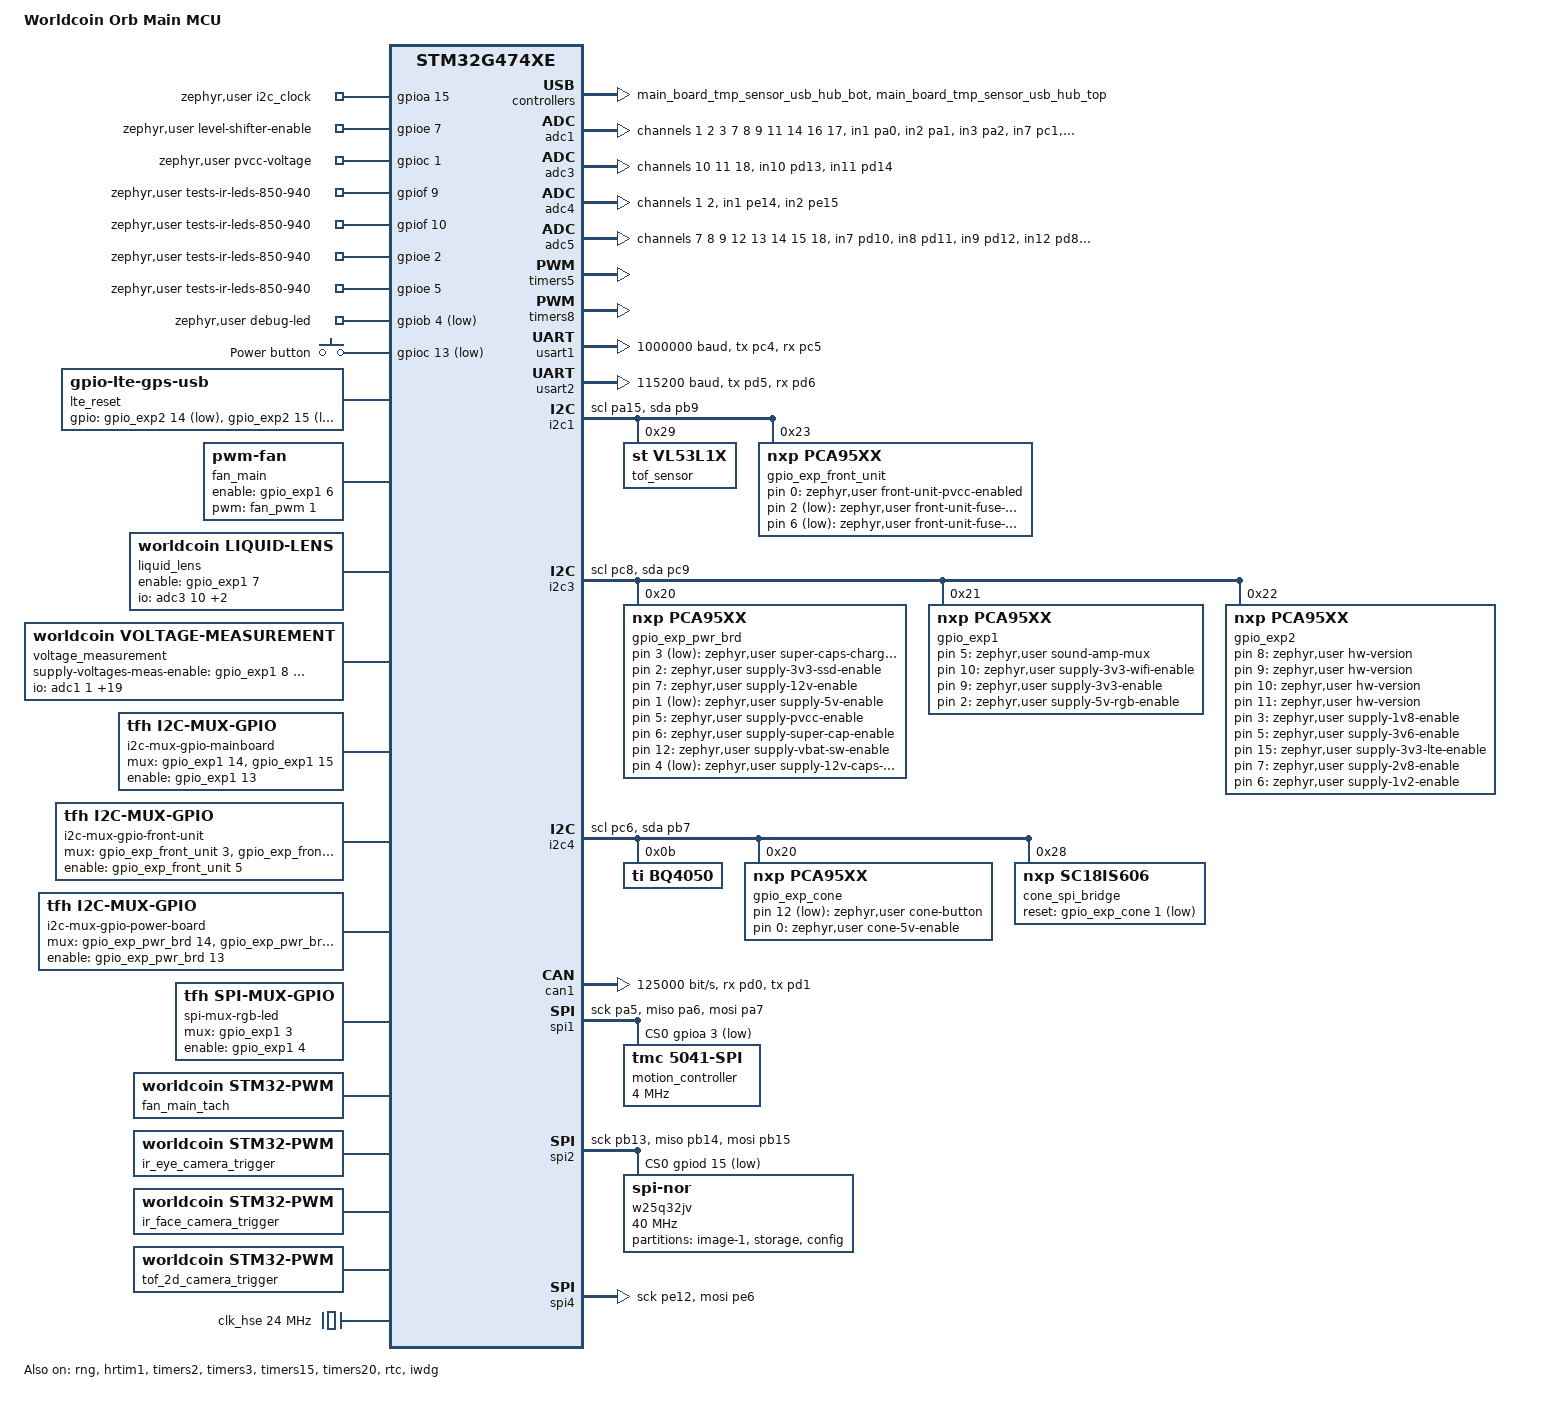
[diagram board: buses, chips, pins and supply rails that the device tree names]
/dts-v1/;
#include <st/g4/stm32g474Xe.dtsi>
#include <st/g4/stm32g474v(b-c-e)tx-pinctrl.dtsi>
#include "../stm32g474-hrtim.dtsi"
#include <zephyr/dt-bindings/spi/spi.h>
#include <zephyr/dt-bindings/dma/stm32_dma.h>

/// see @file modules/hal/stm32/stm32cube/stm32g4xx/drivers/include/stm32g4xx_ll_dmamux.h
#define LL_DMAMUX_REQ_ADC1            0x00000005U  /*!< DMAMUX ADC1 request        */
#define LL_DMAMUX_REQ_ADC3            0x00000025U  /*!< DMAMUX ADC3 request        */
#define LL_DMAMUX_REQ_ADC4            0x00000026U  /*!< DMAMUX ADC4 request        */
#define LL_DMAMUX_REQ_ADC5            0x00000027U  /*!< DMAMUX ADC5 request        */
#define LL_DMAMUX_REQ_USART1_RX       0x00000018U  /*!< DMAMUX USART1 RX request   */
#define LL_DMAMUX_REQ_USART1_TX       0x00000019U  /*!< DMAMUX USART1 TX request   */
#define LL_DMAMUX_REQ_SPI4_TX         0x0000006BU  /*!< DMAMUX SPI4 TX request     */

#define LL_DMAMUX_CHANNEL_8           0x00000008U  /*!< DMAMUX Channel 8 connected to DMA2 Channel 1  */
#define LL_DMAMUX_CHANNEL_9           0x00000009U  /*!< DMAMUX Channel 9 connected to DMA2 Channel 2  */
#define LL_DMAMUX_CHANNEL_10          0x0000000AU  /*!< DMAMUX Channel 10 connected to DMA2 Channel 3 */
#define LL_DMAMUX_CHANNEL_11          0x0000000BU  /*!< DMAMUX Channel 11 connected to DMA2 Channel 4 */

/// see @file zephyr/dts/bindings/dma/st,stm32-dma-v2.yaml
#define DMA_CONFIG_CYCLIC_SHIFT     5
#define DMA_CONFIG_DIR_SHIFT        6
#define DMA_MEM_INC_ADDR_SHIFT      10

#define DMA_DIR_MEM_TO_PERIPH       1
#define DMA_DIR_PERIPH_TO_MEM       2

/ {
    model = "Worldcoin Orb Main MCU";
    compatible = "worldcoin,diamond_main";

    chosen {
        zephyr,flash = &flash0;
        zephyr,sram = &sram0;
        // app in slot0_partition by default
        // the bootloader uses an overlay to redefine this
        zephyr,code-partition = &slot0_partition;

        zephyr,console = &usart2;
        zephyr,shell-uart = &usart2;
        zephyr,canbus = &can1;
    };

    aliases {
        battery-can-bus = &can2;
        watchdog0 = &iwdg;
        secondary-slot = &slot1_partition;
        spi-flash0 = &w25q32jv;
    };

    zephyr,user {
        jetson_serial = <&usart1>;
        // GPIO used to get hardware version dynamically
        hw-version-gpios = <&gpio_exp2 8 GPIO_ACTIVE_HIGH>, <&gpio_exp2 9 GPIO_ACTIVE_HIGH>, <&gpio_exp2 10 GPIO_ACTIVE_HIGH>, <&gpio_exp2 11 GPIO_ACTIVE_HIGH>; // todo: replaced by digital configuration at IO expander; also add hw versions of Front Unit and Power Board
        sound-amp-mux-gpios = <&gpio_exp1 5 GPIO_ACTIVE_HIGH>;
        i2c_clock_gpios = <&gpioa 15 GPIO_ACTIVE_HIGH>;
        super-caps-charging-mode-gpios = <&gpio_exp_pwr_brd 3 GPIO_ACTIVE_LOW>;
        level-shifter-enable-gpios = <&gpioe 7 GPIO_ACTIVE_HIGH>;

        supply-3v3-ssd-enable-gpios = <&gpio_exp_pwr_brd 2 GPIO_ACTIVE_HIGH>;
        supply-3v3-wifi-enable-gpios = <&gpio_exp1 10 GPIO_ACTIVE_HIGH>;
        supply-12v-enable-gpios = <&gpio_exp_pwr_brd 7 GPIO_ACTIVE_HIGH>;
        supply-5v-enable-gpios = <&gpio_exp_pwr_brd 1 GPIO_ACTIVE_LOW>;
        supply-3v3-enable-gpios = <&gpio_exp1 9 GPIO_ACTIVE_HIGH>;
        supply-1v8-enable-gpios = <&gpio_exp2 3 GPIO_ACTIVE_HIGH>;
        supply-pvcc-enable-gpios = <&gpio_exp_pwr_brd 5 GPIO_ACTIVE_HIGH>;
        supply-super-cap-enable-gpios = <&gpio_exp_pwr_brd 6 GPIO_ACTIVE_HIGH>;
        supply-vbat-sw-enable-gpios = <&gpio_exp_pwr_brd 12 GPIO_ACTIVE_HIGH>;
        front-unit-pvcc-enabled-gpios = <&gpio_exp_front_unit 0 GPIO_ACTIVE_HIGH>;
        front-unit-fuse-reset-gpios = <&gpio_exp_front_unit 2 GPIO_ACTIVE_LOW>;
        front-unit-fuse-active-gpios = <&gpio_exp_front_unit 6 GPIO_ACTIVE_LOW>;

        supply-12v-caps-enable-gpios = <&gpio_exp_pwr_brd 4 GPIO_ACTIVE_LOW>;
        supply-5v-rgb-enable-gpios = <&gpio_exp1 2 GPIO_ACTIVE_HIGH>;
        supply-3v6-enable-gpios = <&gpio_exp2 5 GPIO_ACTIVE_HIGH>;
        supply-3v3-lte-enable-gpios = <&gpio_exp2 15 GPIO_ACTIVE_HIGH>;
        supply-2v8-enable-gpios = <&gpio_exp2 7 GPIO_ACTIVE_HIGH>;
        supply-1v2-enable-gpios = <&gpio_exp2 6 GPIO_ACTIVE_HIGH>;

        // used by boot.c when voltage measurements module is not available yet
        pvcc-voltage-gpios = <&gpioc 1 GPIO_ACTIVE_HIGH>;

        tests-ir-leds-850-940-gpios =
            <&gpiof 9 GPIO_ACTIVE_HIGH /* 850nm left */ >,
            <&gpiof 10 GPIO_ACTIVE_HIGH /* 850nm right */ >,
            <&gpioe 2 GPIO_ACTIVE_HIGH /* 940nm center */ >,
            <&gpioe 5 GPIO_ACTIVE_HIGH /* 940nm side */ >;

        debug-led-gpios = <&gpiob 4 GPIO_ACTIVE_LOW>;

        cone-button-gpios = <&gpio_exp_cone 12 GPIO_ACTIVE_LOW>;
        cone-5v-enable-gpios = <&gpio_exp_cone 0 GPIO_ACTIVE_HIGH>;

        // Voltage at VREF+ pin of STM32
        vref-mv = <2048>;
    };

    buttons {
        compatible = "gpio-keys";
        power_button {
            gpios = <&gpioc 13 GPIO_ACTIVE_LOW>;
            label = "Power button";
        };
    };

    jetson_power_pins
    {
        compatible = "gpio-jetson-power";

        shutdown_request
        {
            // input
            // Jetson module uses this to request a shutdown sequence
            gpios = <&gpioe 4 GPIO_ACTIVE_LOW>;
        };

        power_enable
        {
            // output
            // this signals the Jetson module to turn on an off
            gpios = <&gpio_exp2 4 GPIO_ACTIVE_HIGH>;
        };

        system_reset
        {
            // bidirectional
            // drive low to reset
            // driven by Jetson to indicate power sequence is complete
            gpios = <&gpioe 8 GPIO_ACTIVE_LOW>;
        };

        module_sleep
        {
            // input
            // when driven low indicates that the module has gone to sleep
            gpios = <&gpioe 0 GPIO_ACTIVE_LOW>;
        };

        sleep_wake
        {
            // output
            // drive high to indicate that the Jetson should enter sleep mode
            gpios = <&gpioe 9 GPIO_ACTIVE_LOW>;
        };
    };

    // todo LTE module supply enable
    lte_reset {
        compatible = "gpio-lte-gps-usb";
        gpios = <&gpio_exp2 14 GPIO_ACTIVE_LOW>, <&gpio_exp2 15 GPIO_ACTIVE_LOW>;
    };

    fan_main {
        compatible = "pwm-fan";
        pwms = <&fan_pwm 1 40000 PWM_POLARITY_NORMAL>;
        enable-gpios = <&gpio_exp1 6 GPIO_ACTIVE_HIGH>;
    };

    white_leds {
        compatible = "pwm-white-leds";
        pwms = <&white_leds_pwm 2 100000 PWM_POLARITY_NORMAL>;
    };

    liquid_lens {
        compatible = "worldcoin,liquid-lens";

        io-channels = <&adc3 10>, <&adc3 11>, <&adc3 18>;
        io-channel-names = "ina240_ref", "ina240_sig", "vrefint";

        enable-gpios = <&gpio_exp1 7 GPIO_ACTIVE_HIGH>;

        amplifier-gains = <10>;
        shunt-resistor-ohms = "0.15f";
    };

    voltage_measurement {
        compatible = "worldcoin,voltage-measurement";
        // enable opamps to allow for voltage measurements of the power supplies
        supply-voltages-meas-enable-gpios = <&gpio_exp1 8 GPIO_ACTIVE_LOW>;

        // io-channels = <adc-device channel-number>, ...
        // adc1:
        // [0]: VBAT_SW
        //      Diamond PoC2: R1=94k, R2=10k
        // [1]: 3V3_SSD
        //      Diamond PoC2: R1=10k, R2=10k
        // [2]: 3V3_WIFI
        //      Diamond PoC2: R1=10k, R2=10k
        // [3]: PVCC
        //      Diamond PoC2: R1=442k, R2=23.5k
        // [4]: 12V
        //      Diamond PoC2: R1=57k, R2=10k
        // [5]: 12V_CAPS
        //      Diamond PoC2: R1=57k, R2=10k
        // [6]: V_SCAP_LOW
        //      Diamond PoC2
        // [7]: V_SCAP_HIGH
        //      Diamond PoC2
        // [8]: Die Temperature
        // [9]: Vbat / 3
        // adc4:
        // [10]: 1V8_SEC
        //       Diamond PoC2: R1=27R, R2=inf
        // [11]: 4V7_SEC
        //       Diamond PoC2: R1=2*47k, R2=47k
        // adc5:
        // [12]: 1V8
        //       Diamond PoC2: R1=27R, R2=inf
        // [13]: 3V3
        //       Diamond PoC2: R1=10k, R2=10k
        // [14]: 5V
        //       Diamond PoC2: R1=20k, R2=10k
        // [15]: 3V6
        //       Diamond PoC2: R1=10k, R2=10k
        // [16]: 3V3_LTE
        //       Diamond PoC2: R1=10k, R2=10k
        // [17]: 1V2
        //       Diamond PoC2: R1=27R, R2=inf
        // [18]: 2V8
        //       Diamond PoC2: R1=10k, R2=10k
        // [19]: VREFINT (typ. 1.212 V)
        //
        io-channels = <&adc1 1>, <&adc1 2>, <&adc1 3>, <&adc1 7>, <&adc1 8>, <&adc1 9>, <&adc1 11>, <&adc1 14>, <&adc1 16>, <&adc1 17>,<&adc4 1>, <&adc4 2>, <&adc5 7>, <&adc5 8>, <&adc5 9>, <&adc5 12>, <&adc5 13>, <&adc5 14>, <&adc5 15>, <&adc5 18>;
        io-channel-names = "vbat_sw", "3v3_ssd", "3v3_wifi", "pvcc", "12v", "12v_caps", "v_scap_low", "v_scap_high", "die_temp", "3v3_uc","1v8_sec", "4v7_sec", "1v8", "3v3", "5v", "3v6", "3v3_lte", "1v2", "2V8", "vrefint";
        voltage-divider-scalings = "10.4f", "2.0f", "2.0f", "19.81f", "6.7f", "6.7f", "1.0f", "1.0f", "1.0f", "3.0f","1.0f", "3.0f", "1.0f", "2.0f", "3.0f", "2.0f", "2.0f", "1.0f", "2.0f", "1.0f";
    };

    i2c-mux-gpio-mainboard {
        compatible = "tfh,i2c-mux-gpio";
        status = "okay";
        #address-cells = <1>;
        #size-cells = <0>;
        mux-gpios = <&gpio_exp1 14 GPIO_ACTIVE_HIGH>, <&gpio_exp1 15 GPIO_ACTIVE_HIGH>;
        enable-gpios = <&gpio_exp1 13 GPIO_ACTIVE_HIGH>;
        i2c-parent = <&i2c1>;

        mux_i2c@0 {
            compatible = "tfh,i2c-mux-gpio-channel";
            status = "okay";
            reg = <0>;
            #address-cells = <1>;
            #size-cells = <0>;

            main_board_tmp_sensor_usb_hub_bot: tmp112@48 {
                compatible = "ti,tmp112";
                status = "okay";
                reg = <0x48>;
            };

            main_board_tmp_sensor_security_supply: tmp112@49 {
                compatible = "ti,tmp112";
                status = "okay";
                reg = <0x49>;
            };

            main_board_tmp_sensor_usb_hub_top: tmp112@4a {
                compatible = "ti,tmp112";
                status = "okay";
                reg = <0x4a>;
            };

            main_board_tmp_sensor_audio_amp: tmp112@4b {
                compatible = "ti,tmp112";
                status = "okay";
                reg = <0x4b>;
            };
        };

        mux_i2c@1 {
            compatible = "tfh,i2c-mux-gpio-channel";
            status = "okay";
            reg = <1>;
            #address-cells = <1>;
            #size-cells = <0>;

            liquid_lens_tmp_sensor: maxim31875@4a {
                compatible = "maxim,max31875";
                status = "okay";
                reg = <0x4a>;
                conversions-per-second = "1";
                resolution = <8>;
            };
        };
    };

    i2c-mux-gpio-front-unit {
        compatible = "tfh,i2c-mux-gpio";
        status = "okay";
        #address-cells = <1>;
        #size-cells = <0>;
        mux-gpios = <&gpio_exp_front_unit 3 GPIO_ACTIVE_HIGH>, <&gpio_exp_front_unit 4 GPIO_ACTIVE_HIGH>;
        enable-gpios = <&gpio_exp_front_unit 5 GPIO_ACTIVE_HIGH>;
        i2c-parent = <&i2c1>;

        mux_i2c@0 {
            compatible = "tfh,i2c-mux-gpio-channel";
            status = "okay";
            reg = <0>;
            #address-cells = <1>;
            #size-cells = <0>;

            front_unit_tmp_sensor_850_730_left_top: tmp112@48 {
                compatible = "ti,tmp112";
                status = "okay";
                reg = <0x48>;
            };

            front_unit_tmp_sensor_940_left_top: tmp112@49 {
                compatible = "ti,tmp112";
                status = "okay";
                reg = <0x49>;
            };

            front_unit_tmp_sensor_850_730_left_bot: tmp112@4a {
                compatible = "ti,tmp112";
                status = "okay";
                reg = <0x4a>;
            };

            front_unit_tmp_sensor_940_left_bot: tmp112@4b {
                compatible = "ti,tmp112";
                status = "okay";
                reg = <0x4b>;
            };
        };

        mux_i2c@1 {
            compatible = "tfh,i2c-mux-gpio-channel";
            status = "okay";
            reg = <1>;
            #address-cells = <1>;
            #size-cells = <0>;

            front_unit_tmp_sensor_850_730_right_top: tmp112@48 {
                compatible = "ti,tmp112";
                status = "okay";
                reg = <0x48>;
            };

            front_unit_tmp_sensor_940_right_top: tmp112@49 {
                compatible = "ti,tmp112";
                status = "okay";
                reg = <0x49>;
            };

            front_unit_tmp_sensor_850_730_right_bot: tmp112@4a {
                compatible = "ti,tmp112";
                status = "okay";
                reg = <0x4a>;
            };

            front_unit_tmp_sensor_940_right_bot: tmp112@4b {
                compatible = "ti,tmp112";
                status = "okay";
                reg = <0x4b>;
            };
        };

        mux_i2c@3 {
            compatible = "tfh,i2c-mux-gpio-channel";
            status = "okay";
            reg = <3>;
            #address-cells = <1>;
            #size-cells = <0>;

            front_unit_als: bu27030@38 {
                compatible = "rohm,bu27030";
                status = "okay";
                reg = <0x38>;
            };

            front_unit_tmp_sensor_shroud_rgb_top: tmp112@48 {
                compatible = "ti,tmp112";
                status = "okay";
                reg = <0x48>;
            };

            front_unit_tmp_sensor_white_top: tmp112@49 {
                compatible = "ti,tmp112";
                status = "okay";
                reg = <0x49>;
            };

            front_unit_tmp_sensor_940_center_top: tmp112@4a {
                compatible = "ti,tmp112";
                status = "okay";
                reg = <0x4a>;
            };

            front_unit_tmp_sensor_940_center_bot: tmp112@4b {
                compatible = "ti,tmp112";
                status = "okay";
                reg = <0x4b>;
            };
        };
    };

    i2c-mux-gpio-power-board {
        compatible = "tfh,i2c-mux-gpio";
        status = "okay";
        #address-cells = <1>;
        #size-cells = <0>;
        mux-gpios = <&gpio_exp_pwr_brd 14 GPIO_ACTIVE_HIGH>, <&gpio_exp_pwr_brd 15 GPIO_ACTIVE_HIGH>;
        enable-gpios = <&gpio_exp_pwr_brd 13 GPIO_ACTIVE_HIGH>;
        i2c-parent = <&i2c1>;

        mux_i2c@0 {
            compatible = "tfh,i2c-mux-gpio-channel";
            status = "okay";
            reg = <0>;
            #address-cells = <1>;
            #size-cells = <0>;

            power_board_tmp_sensor_super_cap_charger: tmp112@48 {
                compatible = "ti,tmp112";
                status = "okay";
                reg = <0x48>;
            };

            power_board_tmp_sensor_pvcc_supply: tmp112@49 {
                compatible = "ti,tmp112";
                status = "okay";
                reg = <0x49>;
            };

            power_board_tmp_sensor_super_caps_left: tmp112@4a {
                compatible = "ti,tmp112";
                status = "okay";
                reg = <0x4a>;
            };

            power_board_tmp_sensor_super_caps_right: tmp112@4b {
                compatible = "ti,tmp112";
                status = "okay";
                reg = <0x4b>;
            };
        };
    };

    spi-mux-rgb-led {
        compatible = "tfh,spi-mux-gpio";
        status = "okay";
        #address-cells = <1>;
        #size-cells = <0>;
        mux-gpios = <&gpio_exp1 3 GPIO_ACTIVE_HIGH>;
        enable-gpios = <&gpio_exp1 4 GPIO_ACTIVE_HIGH>;
        spi-parent = <&spi4>;

        mux_spi_op: spi@0 {
            compatible = "tfh,spi-mux-gpio-channel";
            status = "okay";
            reg = <0>;
            #address-cells = <1>;
            #size-cells = <0>;

            front_unit_rgb_leds:front_unit_rgb_leds@0
            {
                compatible = "we,spi-rgb-led";
                reg = <0>;
                spi-max-frequency = <1600000>;
                // 'duplex' option exists but
                // not actually used by the SPI driver
                duplex = <SPI_HALF_DUPLEX>;

                num-leds = <99>;
            };
        };

        mux_spi_fu: spi@1 {
            compatible = "tfh,spi-mux-gpio-channel";
            status = "okay";
            reg = <1>;
            #address-cells = <1>;
            #size-cells = <0>;

            operator_rgb_leds: operator_rgb_leds@1
            {
                compatible = "we,spi-rgb-led";
                reg = <1>;
                spi-max-frequency = <1600000>;
                // 'duplex' option exists but
                // not actually used by the SPI driver
                duplex = <SPI_HALF_DUPLEX>;

                num-leds = <5>;
            };
        };
    };
};

&adc1 {
    // dmamux1: 8 = dma2,channel 1
    dmas = < &dmamux1 LL_DMAMUX_CHANNEL_8 LL_DMAMUX_REQ_ADC1 (STM32_DMA_PERIPH_TO_MEMORY |
    STM32_DMA_MEM_INC |  STM32_DMA_MEM_16BITS | STM32_DMA_PERIPH_16BITS) >;
    dma-names = "dmamux";

    status = "okay";
    pinctrl-0 = <&adc1_in1_pa0 &adc1_in2_pa1 &adc1_in3_pa2 &adc1_in7_pc1 &adc1_in8_pc2 &adc1_in9_pc3 &adc1_in11_pb12 &adc1_in14_pb11>;
    pinctrl-names = "default";
    vref-mv = <2048>;
    vbat-channel = <0x11>;

    #address-cells = <1>;
    #size-cells = <0>;

    channel@1 {		// VBAT_SW
        reg = <1>;
        zephyr,acquisition-time = <ADC_ACQ_TIME(ADC_ACQ_TIME_TICKS, 48)>;	// ~1.1 µs @ ADC_CLK = 42.5 MHz
        zephyr,gain = "ADC_GAIN_1";
        zephyr,reference = "ADC_REF_INTERNAL";
        zephyr,resolution = <12>;
    };

    channel@2 {		// 3V3_SSD
        reg = <2>;
        zephyr,acquisition-time = <ADC_ACQ_TIME(ADC_ACQ_TIME_TICKS, 48)>;	// ~1.1 µs @ ADC_CLK = 42.5 MHz
        zephyr,gain = "ADC_GAIN_1";
        zephyr,reference = "ADC_REF_INTERNAL";
        zephyr,resolution = <12>;
    };

    channel@3 {		// 3V3_WIFI
        reg = <3>;
        zephyr,acquisition-time = <ADC_ACQ_TIME(ADC_ACQ_TIME_TICKS, 48)>;	// ~1.1 µs @ ADC_CLK = 42.5 MHz
        zephyr,gain = "ADC_GAIN_1";
        zephyr,reference = "ADC_REF_INTERNAL";
        zephyr,resolution = <12>;
    };

    channel@7 {		// PVCC
        reg = <7>;
        zephyr,acquisition-time = <ADC_ACQ_TIME(ADC_ACQ_TIME_TICKS, 48)>;	// ~1.1 µs @ ADC_CLK = 42.5 MHz
        zephyr,gain = "ADC_GAIN_1";
        zephyr,reference = "ADC_REF_INTERNAL";
        zephyr,resolution = <12>;
    };

    channel@8 {		// 12V
        reg = <8>;
        zephyr,acquisition-time = <ADC_ACQ_TIME(ADC_ACQ_TIME_TICKS, 48)>;	// ~1.1 µs @ ADC_CLK = 42.5 MHz
        zephyr,gain = "ADC_GAIN_1";
        zephyr,reference = "ADC_REF_INTERNAL";
        zephyr,resolution = <12>;
    };

    channel@9 {		// 12V_CAPS
        reg = <9>;
        zephyr,acquisition-time = <ADC_ACQ_TIME(ADC_ACQ_TIME_TICKS, 48)>;	// ~1.1 µs @ ADC_CLK = 42.5 MHz
        zephyr,gain = "ADC_GAIN_1";
        zephyr,reference = "ADC_REF_INTERNAL";
        zephyr,resolution = <12>;
    };

    channel@b {		// V_SCAP_LOW
        reg = <11>;
        zephyr,acquisition-time = <ADC_ACQ_TIME(ADC_ACQ_TIME_TICKS, 48)>;	// ~1.1 µs @ ADC_CLK = 42.5 MHz
        zephyr,gain = "ADC_GAIN_1";
        zephyr,reference = "ADC_REF_INTERNAL";
        zephyr,resolution = <12>;
    };

    channel@e {		// V_SCAP_HIGH
        reg = <14>;
        zephyr,acquisition-time = <ADC_ACQ_TIME(ADC_ACQ_TIME_TICKS, 48)>;	// ~1.1 µs @ ADC_CLK = 42.5 MHz
        zephyr,gain = "ADC_GAIN_1";
        zephyr,reference = "ADC_REF_INTERNAL";
        zephyr,resolution = <12>;
    };

    channel@10 {	// die temperature
        reg = <16>;
        // Minimum required sampling time is 5 µs according to the datasheet
        // Our ADC is running with 42.5 MHz (AHB = 170 MHz / 4)
        // This means we need to set the sampling time to at least 5 µs * 42.5 MHz = 212.5 ADC Ticks
        zephyr,acquisition-time = <ADC_ACQ_TIME(ADC_ACQ_TIME_TICKS, 248)>;	// ~5.8 µs @ ADC_CLK = 42.5 MHz
        zephyr,gain = "ADC_GAIN_1";
        zephyr,reference = "ADC_REF_INTERNAL";
        zephyr,resolution = <12>;
    };

    channel@11 {	// VBAT / 3 = 3V3_UC / 3
        reg = <17>;
        zephyr,acquisition-time = <ADC_ACQ_TIME(ADC_ACQ_TIME_TICKS, 248)>;	// ~5.8 µs @ ADC_CLK = 42.5 MHz
        zephyr,gain = "ADC_GAIN_1";
        zephyr,reference = "ADC_REF_INTERNAL";
        zephyr,resolution = <12>;
    };
};

&adc3 {
    // used by liquid_lens module
    // dmamux1: 10 = dma2,channel 3
    dmas = < &dmamux1 LL_DMAMUX_CHANNEL_10 LL_DMAMUX_REQ_ADC3 (STM32_DMA_PERIPH_TO_MEMORY |STM32_DMA_MEM_INC |
                           STM32_DMA_MEM_16BITS | STM32_DMA_PERIPH_16BITS) >;
    dma-names = "dmamux";
    status = "okay";
    pinctrl-0 = <&adc3_in10_pd13 &adc3_in11_pd14>;
    pinctrl-names = "default";
    vref-mv = <2048>;
    vref-channel = < 0x12 >;

    #address-cells = <1>;
    #size-cells = <0>;

    channel@a {		// INA240 REF
        reg = <10>;
        zephyr,acquisition-time = <ADC_ACQ_TIME(ADC_ACQ_TIME_TICKS, 48)>;	// ~1.1 µs @ ADC_CLK = 42.5 MHz
        zephyr,gain = "ADC_GAIN_1";
        zephyr,reference = "ADC_REF_INTERNAL";
        zephyr,resolution = <12>;
    };

    channel@b {		// INA240 SIG
        reg = <11>;
        zephyr,acquisition-time = <ADC_ACQ_TIME(ADC_ACQ_TIME_TICKS, 48)>;	// ~1.1 µs @ ADC_CLK = 42.5 MHz
        zephyr,gain = "ADC_GAIN_1";
        zephyr,reference = "ADC_REF_INTERNAL";
        zephyr,resolution = <12>;
    };

    channel@12 {	// VREFINT (typ. 1.212 V)
        reg = <18>;
        // Minimum required sampling time is 4 µs according to the datasheet
        // Our ADC is running with 42.5 MHz (AHB = 170 MHz / 4)
        // This means we need to set the sampling time to at least 4 µs * 42.5 MHz = 170 ADC Ticks
        zephyr,acquisition-time = <ADC_ACQ_TIME(ADC_ACQ_TIME_TICKS, 248)>;	// ~5.8 µs @ ADC_CLK = 42.5 MHz
        zephyr,gain = "ADC_GAIN_1";
        zephyr,reference = "ADC_REF_INTERNAL";
        zephyr,resolution = <12>;
    };
};

&adc4 {
    // dmamux1: 11 = dma2,channel 4
    dmas = < &dmamux1 LL_DMAMUX_CHANNEL_11 LL_DMAMUX_REQ_ADC4 (STM32_DMA_PERIPH_TO_MEMORY |
    STM32_DMA_MEM_INC |  STM32_DMA_MEM_16BITS | STM32_DMA_PERIPH_16BITS) >;
    dma-names = "dmamux";

    status = "okay";
    pinctrl-0 = <&adc4_in1_pe14 &adc4_in2_pe15>;
    pinctrl-names = "default";
    vref-mv = <2048>;

    #address-cells = <1>;
    #size-cells = <0>;

    channel@1 {		// 1V8_SEC
        reg = <1>;
        zephyr,acquisition-time = <ADC_ACQ_TIME(ADC_ACQ_TIME_TICKS, 48)>;	// ~1.1 µs @ ADC_CLK = 42.5 MHz
        zephyr,gain = "ADC_GAIN_1";
        zephyr,reference = "ADC_REF_INTERNAL";
        zephyr,resolution = <12>;
    };

    channel@2 {		// 4V7_SEC
        reg = <2>;
        zephyr,acquisition-time = <ADC_ACQ_TIME(ADC_ACQ_TIME_TICKS, 48)>;	// ~1.1 µs @ ADC_CLK = 42.5 MHz
        zephyr,gain = "ADC_GAIN_1";
        zephyr,reference = "ADC_REF_INTERNAL";
        zephyr,resolution = <12>;
    };
};

&adc5 {
    // dmamux1: 9 = dma2,ch2
    dmas = < &dmamux1 LL_DMAMUX_CHANNEL_9 LL_DMAMUX_REQ_ADC5 (STM32_DMA_PERIPH_TO_MEMORY |
	STM32_DMA_MEM_INC | STM32_DMA_MEM_16BITS | STM32_DMA_PERIPH_16BITS) >;
    dma-names = "dmamux";
    status = "okay";
    pinctrl-0 = <&adc5_in7_pd10 &adc5_in8_pd11 &adc5_in9_pd12 &adc5_in12_pd8 &adc5_in13_pd9 &adc5_in14_pe10 &adc5_in15_pe11>;
    pinctrl-names = "default";
    vref-mv = <2048>;
    vref-channel = < 0x12 >;

    #address-cells = <1>;
    #size-cells = <0>;

    channel@7 {		// 1V8
        reg = <7>;
        zephyr,acquisition-time = <ADC_ACQ_TIME(ADC_ACQ_TIME_TICKS, 48)>;	// ~1.1 µs @ ADC_CLK = 42.5 MHz
        zephyr,gain = "ADC_GAIN_1";
        zephyr,reference = "ADC_REF_INTERNAL";
        zephyr,resolution = <12>;
    };

    channel@8 {		// 3V3
        reg = <8>;
        zephyr,acquisition-time = <ADC_ACQ_TIME(ADC_ACQ_TIME_TICKS, 48)>;	// ~1.1 µs @ ADC_CLK = 42.5 MHz
        zephyr,gain = "ADC_GAIN_1";
        zephyr,reference = "ADC_REF_INTERNAL";
        zephyr,resolution = <12>;
    };

    channel@9 {		// 5V
        reg = <9>;
        zephyr,acquisition-time = <ADC_ACQ_TIME(ADC_ACQ_TIME_TICKS, 48)>;	// ~1.1 µs @ ADC_CLK = 42.5 MHz
        zephyr,gain = "ADC_GAIN_1";
        zephyr,reference = "ADC_REF_INTERNAL";
        zephyr,resolution = <12>;
    };

    channel@c {		// 3V6
        reg = <12>;
        zephyr,acquisition-time = <ADC_ACQ_TIME(ADC_ACQ_TIME_TICKS, 48)>;	// ~1.1 µs @ ADC_CLK = 42.5 MHz
        zephyr,gain = "ADC_GAIN_1";
        zephyr,reference = "ADC_REF_INTERNAL";
        zephyr,resolution = <12>;
    };

    channel@d {	        // 3V3_LTE
        reg = <13>;
        zephyr,acquisition-time = <ADC_ACQ_TIME(ADC_ACQ_TIME_TICKS, 48)>;	// ~1.1 µs @ ADC_CLK = 42.5 MHz
        zephyr,gain = "ADC_GAIN_1";
        zephyr,reference = "ADC_REF_INTERNAL";
        zephyr,resolution = <12>;
    };

    channel@e {		// 1V2
        reg = <14>;
        zephyr,acquisition-time = <ADC_ACQ_TIME(ADC_ACQ_TIME_TICKS, 48)>;	// ~1.1 µs @ ADC_CLK = 42.5 MHz
        zephyr,gain = "ADC_GAIN_1";
        zephyr,reference = "ADC_REF_INTERNAL";
        zephyr,resolution = <12>;
    };

    channel@f {		// 2V8
        reg = <15>;
        zephyr,acquisition-time = <ADC_ACQ_TIME(ADC_ACQ_TIME_TICKS, 48)>;	// ~1.1 µs @ ADC_CLK = 42.5 MHz
        zephyr,gain = "ADC_GAIN_1";
        zephyr,reference = "ADC_REF_INTERNAL";
        zephyr,resolution = <12>;
    };

    channel@12 {	// VREFINT (typ. 1.212 V)
        reg = <18>;
        // Minimum required sampling time is 4 µs according to the datasheet
	// Our ADC is running with 42.5 MHz (AHB = 170 MHz / 4)
	// This means we need to set the sampling time to at least 4 µs * 42.5 MHz = 170 ADC Ticks
        zephyr,acquisition-time = <ADC_ACQ_TIME(ADC_ACQ_TIME_TICKS, 248)>;	// ~5.8 µs @ ADC_CLK = 42.5 MHz
        zephyr,gain = "ADC_GAIN_1";
        zephyr,reference = "ADC_REF_INTERNAL";
        zephyr,resolution = <12>;
    };
};

&rng {
    clocks = <&rcc STM32_CLOCK_BUS_AHB2 0x04000000>,
             <&rcc STM32_SRC_HSI48 CLK48_SEL(0)>; // domain clock
    status = "okay";
};

&hrtim1 {
    status = "okay";

    liquid_lens: liquid_lens {
        compatible = "worldcoin,stm32-pwm";
        pinctrl-0 = <&hrtim1_cha1_pa8 &hrtim1_cha2_pa9 &hrtim1_chb1_pa10 &hrtim1_chb2_pa11>;
        pinctrl-names = "default";
    };
};

&timers2 {
    status = "okay";

    fan_main_tach: fan_main_tach {
        compatible = "worldcoin,stm32-pwm";
        pinctrl-0 = <&tim2_ch3_pd7>;
        pinctrl-names = "default";
        channels = <3>;
    };
};

&timers3 {
    status = "okay";

    led_740nm: led_740nm {
        compatible = "worldcoin,stm32-pwm";
        pinctrl-0 = <&tim3_ch3_pb0>;
        pinctrl-names = "default";
        channels = <3>;
    };

    led_940nm: led_940nm {
        compatible = "worldcoin,stm32-pwm";
        pinctrl-0 = <&tim3_ch1_pe2 &tim3_ch4_pe5>;
        pinctrl-names = "default";
        channels = <1 4>;
    };
};

&timers5 {
    status = "okay";

    fan_pwm: pwm {
        status = "okay";
        pinctrl-0 = <&tim5_ch1_pb2>;
        pinctrl-names = "default";
    };
};

&timers8 {
    status = "okay";

    white_leds_pwm: pwm {
        status = "okay";
        pinctrl-0 = <&tim8_ch2_pc7>;
        pinctrl-names = "default";
    };
};

&timers15 {
    status = "okay";

    led_850nm: led_850nm {
        compatible = "worldcoin,stm32-pwm";
        pinctrl-0 = <&tim15_ch1_pf9 &tim15_ch2_pf10>;
        pinctrl-names = "default";
        channels = <1 2>;
    };
};

&timers20 {
    status = "okay";

    // AKA CAM0_IREYE
    ir_eye_camera_trigger: ir_eye_camera_trigger {
        compatible = "worldcoin,stm32-pwm";
        pinctrl-0 = <&tim20_ch3_pf2>;
        pinctrl-names = "default";
        channels = <3>;
    };

    // AKA CAM2_IRFACE
    ir_face_camera_trigger: ir_face_camera_trigger {
        compatible = "worldcoin,stm32-pwm";
        pinctrl-0 = <&tim20_ch4_pe1>;
        pinctrl-names = "default";
        channels = <4>;
    };

    // AKA CAM3_TOF
    tof_2d_camera_trigger: tof_2d_camera_trigger {
        compatible = "worldcoin,stm32-pwm";
        pinctrl-0 = <&tim20_ch2_pe3>;
        pinctrl-names = "default";
        channels = <1>;
    };
};

&dma1 {
    // usart1 & spi4
    status = "okay";
};

&dma2 {
    // ADC sampling (through dmamux)
    status = "okay";
};

&dmamux1 {
    // ADC sampling
    status = "okay";
};

&clk_hse {
    clock-frequency = <DT_FREQ_M(24)>;
    status = "okay";
};

&clk_hsi48 {
    status = "okay";
};

&pll {
    div-m = <6>;
    mul-n = <85>;
    div-p = <7>;
    div-q = <2>;
    div-r = <2>;
    clocks = <&clk_hse>;
    status = "okay";
};

&rcc {
    clocks = <&pll>;
    clock-frequency = <DT_FREQ_M(170)>;
    ahb-prescaler = <1>;
    apb1-prescaler = <1>;
    apb2-prescaler = <1>;
};

// Jetson
&usart1 {
    pinctrl-0 = <&usart1_tx_pc4 &usart1_rx_pc5>;
    pinctrl-names = "default";
    current-speed = <1000000>;
    status = "okay";

    dmas = <&dma1 3 LL_DMAMUX_REQ_USART1_RX ((DMA_DIR_PERIPH_TO_MEM << DMA_CONFIG_DIR_SHIFT) | (1 << DMA_MEM_INC_ADDR_SHIFT) | (1 << DMA_CONFIG_CYCLIC_SHIFT))>,
           <&dma1 4 LL_DMAMUX_REQ_USART1_TX ((DMA_DIR_MEM_TO_PERIPH << DMA_CONFIG_DIR_SHIFT) | (1 << DMA_MEM_INC_ADDR_SHIFT) | (1 << DMA_CONFIG_CYCLIC_SHIFT))>;
    dma-names = "rx", "tx";
};

// debug
&usart2 {
    pinctrl-0 = <&usart2_tx_pd5 &usart2_rx_pd6>;
    pinctrl-names = "default";
    current-speed = <115200>;
    status = "okay";
};

&rtc {
    status = "okay";
};

&i2c1 {
    pinctrl-0 = <&i2c1_scl_pa15 &i2c1_sda_pb9>;
    pinctrl-names = "default";
    status = "okay";

    tof_sensor: vl53l1x@29 {
        compatible = "st,vl53l1x";
        reg = <0x29>;
    };

    // io-expander on the front unit 0x23
    gpio_exp_front_unit: pca95xx@23 {
        compatible = "nxp,pca95xx";
        reg = <0x23>;
        gpio-controller;
        #gpio-cells = <2>;
        ngpios = <16>;
    };
};

&i2c3 {
    pinctrl-0 = <&i2c3_scl_pc8 &i2c3_sda_pc9>;
    pinctrl-names = "default";
    status = "okay";

    // io-expander on the power board
    gpio_exp_pwr_brd: pca95xx@20 {
        compatible = "nxp,pca95xx";
        reg = <0x20>;
        gpio-controller;
        #gpio-cells = <2>;
        ngpios = <16>;
        status = "okay";
    };

    // io-expander 0x21
    // PCA9535 registers are the same as one TCA9535
    gpio_exp1: pca95xx@21 {
        compatible = "nxp,pca95xx";
        reg = <0x21>;
        gpio-controller;
        #gpio-cells = <2>;
        ngpios = <16>;
    };

    // io-expander 0x22
    gpio_exp2: pca95xx@22 {
        compatible = "nxp,pca95xx";
        reg = <0x22>;
        gpio-controller;
        #gpio-cells = <2>;
        ngpios = <16>;
    };
};

&i2c4 {
    pinctrl-0 = <&i2c4_scl_pc6 &i2c4_sda_pb7>;
    pinctrl-names = "default";
    status = "okay";

    bq4050:bq4050@b{
        reg = <0x0b>;
        compatible = "ti,bq4050";
    };

    gpio_exp_cone: pca95xx@20 {
        compatible = "nxp,pca95xx";
        reg = <0x20>;
        gpio-controller;
        #gpio-cells = <2>;
        ngpios = <16>;
    };

    cone_spi_bridge: sc18is606@28{
        reg = <0x28>;
        compatible = "nxp,sc18is606";
        status = "okay";
        #address-cells = <1>;
        #size-cells = <0>;
        reset-gpios = <&gpio_exp_cone 1 GPIO_ACTIVE_LOW>;

        cone_spi_bus: spi@0{
            compatible = "nxp,sc18is606-spi-master";
            status = "okay";
            reg = <0>;
            #address-cells = <1>;
            #size-cells = <0>;
            clock-frequency = <455000>;

            cone_rgb_leds:cone_rgb_leds@0{
                compatible = "we,spi-rgb-led";
                reg = <0>;
                spi-max-frequency = <455000>;
                // 'duplex' option exists but
                // not actually used by the SPI driver
                duplex = <SPI_HALF_DUPLEX>;

                num-leds = <64>;
            };
        };
    };
};

&can1 {
    pinctrl-0 = <&fdcan1_rx_pd0 &fdcan1_tx_pd1>;
    pinctrl-names = "default";

    /*
     * 1. Choose the highest available CAN clock frequency: PCLK1 is used
     * 2. Set the BRPA bit-rate prescaler equal BRPB: done within Zephyr
     * 3. Choose BRPA and BRPD as low as possible: done within Zephyr
     * 4. Configure all CAN FD nodes to have the same arbitration phase SP
     *    and the same data phase SP: 85,2%
     * 5. Chose sjwD and sjwA as large as possible: MIN(PS1,PS2). Configuration
     * on the Jetson allows for a maximum of 4. We use 4 to keep the
     * configuration homogeneous (same Tq on all nodes)
     * 6. Enable TDC for data bit-rates higher than 1 Mbit/s
     */
    bus-speed = <125000>;
    sjw = <4>;
    sample-point = <852>;
    bus-speed-data = <1000000>;
    sjw-data = <4>;
    sample-point-data = <853>; // closest value
    status = "okay";
};

&spi1 {
    pinctrl-0 = <&spi1_sck_pa5 &spi1_miso_pa6 &spi1_mosi_pa7>;
    pinctrl-names = "default";
    cs-gpios = <&gpioa 3 GPIO_ACTIVE_LOW>;
    status = "okay";

    motion_controller: motion_controller@0 {
        compatible = "tmc,5041-spi";
        reg = <0>;
        spi-max-frequency = <4000000>;
        status = "okay";
    };
};

&spi2 {
    pinctrl-0 = <&spi2_sck_pb13 &spi2_miso_pb14 &spi2_mosi_pb15>;
    pinctrl-names = "default";
    cs-gpios = <&gpiod 15 GPIO_ACTIVE_LOW>;
    status = "okay";

    w25q32jv: w25q32jv@0 {
        compatible = "jedec,spi-nor";
        reg = <0>;
        spi-max-frequency = <40000000>;
        size = <0x2000000>;
        has-dpd;
        t-enter-dpd = <3000>;
        t-exit-dpd = <30000>;
        jedec-id = [ ef 40 16 ];
    };
};

&spi4 {
    pinctrl-0 = <&spi4_sck_pe12 &spi4_mosi_pe6>;
    pinctrl-names = "default";

    dmas = <&dma1 1 LL_DMAMUX_REQ_SPI4_TX ((DMA_DIR_MEM_TO_PERIPH << DMA_CONFIG_DIR_SHIFT) | (1 << DMA_MEM_INC_ADDR_SHIFT))>;
    dma-names = "tx";

    status = "okay";
};

&iwdg {
    status = "okay";
};

&w25q32jv {
    status = "okay";

    partitions {
        compatible = "fixed-partitions";
        #address-cells = <1>;
        #size-cells = <1>;

        /* 448KiB for app image, secondary slot */
        slot1_partition: partition@0 {
            label = "image-1";
            reg = <0x0 DT_SIZE_K(448)>;
        };

        /* 8KiB reserved for app storage partition */
        storage_partition: partition@7E000 {
            label = "storage";
            reg = <0x0007E000 DT_SIZE_K(8)>;
        };

        /* 8KiB reserved for configuration partition */
        config_partition: partition@7F000 {
            label = "config";
            reg = <0x0007F000 DT_SIZE_K(8)>;
        };
    };
};

&flash0 {
    /*
     * Base address: 0x8000000
     * For more information, see:
     * http://docs.zephyrproject.org/latest/guides/dts/index.html#flash-partitions
     */
    partitions {
        compatible = "fixed-partitions";
        #address-cells = <1>;
        #size-cells = <1>;

        /*
         *    48KiB for bootloader (mcuboot)
         * + 448KiB for app image
         * +  16KiB scratch area for mcuboot
         * ================================
         * 512KiB total
         */
        boot_partition: partition@0 {
            label = "mcuboot";
            reg = <0x00000000 DT_SIZE_K(48)>;
            read-only;
        };

        slot0_partition: partition@C000 {
            label = "image-0";
            reg = <0x0000C000 DT_SIZE_K(448)>;
        };

        scratch_partition: partition@7C000 {
            label = "image-scratch";
            reg = <0x0007C000 DT_SIZE_K(16)>;
        };
    };
};
